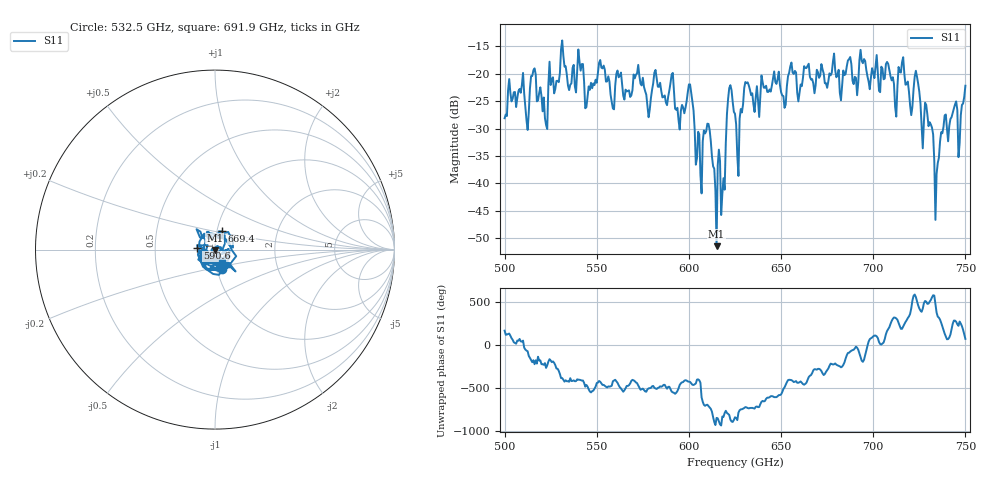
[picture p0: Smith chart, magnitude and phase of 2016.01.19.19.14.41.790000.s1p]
!Created with skrf (http://scikit-rf.org).
# GHz S RI R 50.0
!freq ReS11 ImS11
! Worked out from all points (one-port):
!   401 points, 500 GHz to 750 GHz, reference 50 ohm
!   lowest |S11| = -51.5 dB at 615 GHz (marker M1), VSWR 1.01, Z = 49.8 - j0.202 ohm
!   |S11| at or under -10 dB: start of sweep to end of sweep
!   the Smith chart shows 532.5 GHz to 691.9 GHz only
!   S11 on the Smith chart (normalised r, x): 532.5 GHz: 1.06, -0.23; 590.6 GHz: 0.82, +0.01; 669.4 GHz: 1.06, +0.22; 691.9 GHz: 1.08, -0.16
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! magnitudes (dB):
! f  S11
! 500 GHz  -28.1
! 508.8 GHz  -23.5
! 512.5 GHz  -30.3
! 515.6 GHz  -19.3
! 521.9 GHz  -28.1
! 531.2 GHz  -13.9
! 532.5 GHz  -18.7
! 545 GHz  -24.2
! 562.5 GHz  -20.4
! 590.6 GHz  -20.1
! 593.8 GHz  -26.2
! 600.6 GHz  -21.9
! 605.6 GHz  -31.1
! 610.6 GHz  -29.2
! 615 GHz  -51.5
! 618.8 GHz  -39.1
! 621.9 GHz  -22.6
! 625 GHz  -27.3
! 631.2 GHz  -21.7
! 656.2 GHz  -19.8
! 669.4 GHz  -19.3
! 687.5 GHz  -16.9
! 691.9 GHz  -21.5
! 718.8 GHz  -21.4
! 723.8 GHz  -20.5
! 734.4 GHz  -38.3
! 738.1 GHz  -29.7
! 750 GHz  -22.2
